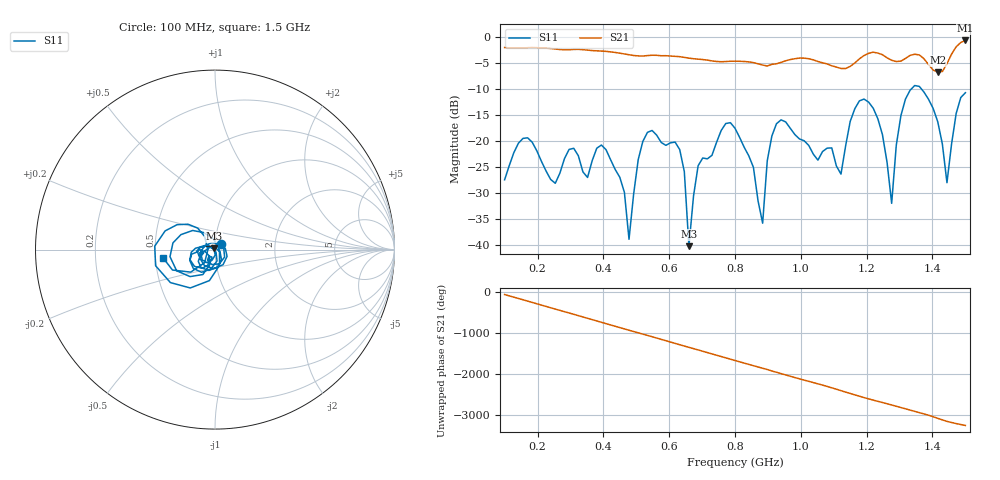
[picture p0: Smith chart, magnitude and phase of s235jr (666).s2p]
! NanoVNA-App
! Date: 2025-09-25 15:09:21
! Start: 100MHz Stop: 1,5GHz Points: 101
! S-Parameter data: F S11 S21 S12 S22
# Hz S RI R 50
!  Frequency  S11_Real  S11_Imag  S21_Real  S21_Imag  S12_Real  S12_Imag  S22_Real  S22_Imag
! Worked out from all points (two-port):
!   101 points, 100 MHz to 1.5 GHz, reference 50 ohm
!   highest |S21| = -0.60 dB at 1.5 GHz (marker M1); lowest = -6.7 dB at 1.416 GHz (marker M2)
!   |S21| within 3 dB of the highest: start of sweep to 517.7 MHz; 520.6 MHz to 602 MHz (81.35 MHz wide, 14.5 % of centre) (the widest 2 of 5)
!   lowest |S11| = -40.3 dB at 660 MHz (marker M3), VSWR 1.02, Z = 49.3 + j0.627 ohm
!   |S11| at or under -10 dB: start of sweep to 1.335 GHz; 1.367 GHz to end of sweep
!   S12 and S22 are empty: the file has one direction only
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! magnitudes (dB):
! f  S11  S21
! 100 MHz  -27.5  -2.0
! 170 MHz  -19.4  -2.0
! 338 MHz  -26.0  -2.4
! 408 MHz  -21.7  -2.7
! 478 MHz  -38.9  -3.4
! 520 MHz  -20.1  -3.6
! 576 MHz  -20.3  -3.6
! 632 MHz  -21.6  -3.7
! 660 MHz  -40.3  -4.0
! 688 MHz  -24.8  -4.2
! 800 MHz  -17.5  -4.6
! 884 MHz  -35.8  -5.3
! 926 MHz  -16.7  -5.1
! 1.038 GHz  -22.5  -4.3
! 1.122 GHz  -26.4  -6.0
! 1.192 GHz  -11.9  -3.5
! 1.248 GHz  -18.8  -3.3
! 1.276 GHz  -32.0  -4.4
! 1.332 GHz  -10.2  -3.5
! 1.416 GHz  -16.3  -6.7
! 1.444 GHz  -28.0  -5.1
! 1.5 GHz  -10.7  -0.6
